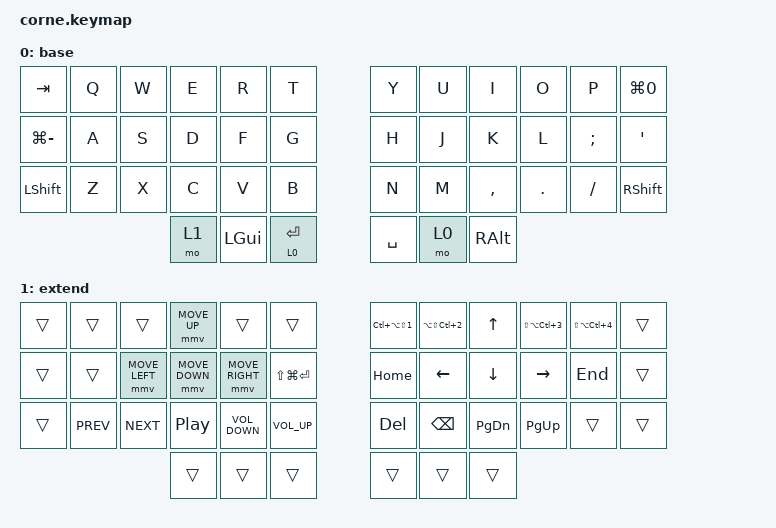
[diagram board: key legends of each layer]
#include <behaviors.dtsi>
#include <dt-bindings/zmk/keys.h>
#include <dt-bindings/zmk/pointing.h>

#define ZMK_POINTING_DEFAULT_MOVE_VAL 1300  // default: 600
#define ZMK_POINTING_DEFAULT_SCRL_VAL 30    // default: 10
#define DEF 0
#define NAV 1
#define SYM 2
#define ADJ 3
#define EXTRA 4

/ {
    behaviors {
        hm: homerow_mods {
            compatible = "zmk,behavior-hold-tap";
            label = "HOMEROW_MODS";
            #binding-cells = <2>;
            tapping-term-ms = <200>;
            quick_tap_ms = <0>;
            flavor = "tap-preferred";
            bindings = <&kp>, <&kp>;

            quick-tap-ms = <180>;
            global-quick-tap;
        };

        para: para {
            compatible = "zmk,behavior-tap-dance";
            label = "PARA";
            #binding-cells = <0>;
            bindings = <&kp LEFT_PARENTHESIS>, <&kp RIGHT_PARENTHESIS>;
        };

        caps: caps {
            compatible = "zmk,behavior-caps-word";
            label = "CAPS";
            #binding-cells = <0>;
            continue-list = <MINUS BACKSPACE>;
        };

        paraless: paraless {
            compatible = "zmk,behavior-mod-morph";
            label = "PARALESS";
            bindings = <&kp LEFT_PARENTHESIS>, <&kp LESS_THAN>;

            #binding-cells = <0>;
            mods = <(MOD_LSFT)>;
        };

        paragreat: paragreat {
            compatible = "zmk,behavior-mod-morph";
            label = "PARAGREAT";
            bindings = <&kp RIGHT_PARENTHESIS>, <&kp GREATER_THAN>;

            #binding-cells = <0>;
            mods = <(MOD_LSFT)>;
        };
    };

    macros {
        browsertab: browsertab {
            compatible = "zmk,behavior-macro";
            #binding-cells = <0>;
            bindings =
                <&macro_press>,
                <&kp LCTRL>,
                <&macro_tap>,
                <&kp TAB>,
                <&macro_release>,
                <&kp LCTRL>;
        };
    };

    combos {
        compatible = "zmk,combos";

        escape {
            bindings = <&kp ESCAPE>;
            key-positions = <0 1>;
        };
    };

    //

    keymap {
        compatible = "zmk,keymap";

        Base {
            display-name = "base";

            // -----------------------------------------------------------------------------------------
            // |  Q  |  W  |  E  |  R  |  T  |   |  Y  |  U   |  I  |  O  |  P  |
            // |  A  |  S  |  D  |  F  |  G  |   |  H  |  J   |  K  |  L  |  ;  |
            // |  Z  |  X  |  C  |  V  |  B  |   |  N  |  M   |  ,  |  .  |  /  |
            // | GUI | CTRL | SHFT | LWR | SPC |   | ENT | RSE  | BKSP | ALT | ESC |

            bindings = <
&kp TAB         &kp Q  &kp W  &kp E  &kp R         &kp T          &kp Y      &kp U  &kp I          &kp O    &kp P     &kp LG(N0)
&kp LG(MINUS)   &kp A  &kp S  &kp D  &kp F         &kp G          &kp H      &kp J  &kp K          &kp L    &kp SEMI  &kp SQT
&kp LEFT_SHIFT  &kp Z  &kp X  &kp C  &kp V         &kp B          &kp N      &kp M  &kp COMMA      &kp DOT  &kp FSLH  &kp RSHFT
                              &mo 1  &kp LEFT_GUI  &lt 0 ENTER    &kp SPACE  &mo 0  &kp RIGHT_ALT
            >;
        };

        Extend {
            display-name = "extend";

            // -----------------------------------------------------------------------------------------
            // |  TAB |  !  |  @  |  #  |  $  |  %  |   |  ^  |  &  |  *  |  (  |  )  | BKSP |
            // | CTRL |     |     |     |     |     |   |  -  |  =  |  [  |  ]  |  \  |  `   |
            // | SHFT |     |     |     |     |     |   |  _  |  +  |  {  |  }  | "|" |  ~   |
            //                    | GUI |     | SPC |   | ENT |     | ALT |

            bindings = <
&trans  &trans      &trans          &mmv MOVE_UP      &trans             &trans               &kp LC(LA(LS(NUMBER_1)))  &kp LA(LS(LC(NUMBER_2)))  &kp UP_ARROW    &kp LS(LA(LC(NUMBER_3)))  &kp LS(LA(LC(NUMBER_4)))  &trans
&trans  &trans      &mmv MOVE_LEFT  &mmv MOVE_DOWN    &mmv MOVE_RIGHT    &kp LS(LG(ENTER))    &kp HOME                  &kp LEFT_ARROW            &kp DOWN_ARROW  &kp RIGHT                 &kp END                   &trans
&trans  &kp C_PREV  &kp C_NEXT      &kp C_PLAY_PAUSE  &kp C_VOLUME_DOWN  &kp C_VOL_UP         &kp DEL                   &kp BACKSPACE             &kp PAGE_DOWN   &kp PG_UP                 &trans                    &trans
                                    &trans            &trans             &trans               &trans                    &trans                    &trans
            >;
        };
    };

    conditional_layers {
        compatible = "zmk,conditional-layers";

        System {
            if-layers = <2 5>;
            then-layer = <1>;
        };
    };
};
